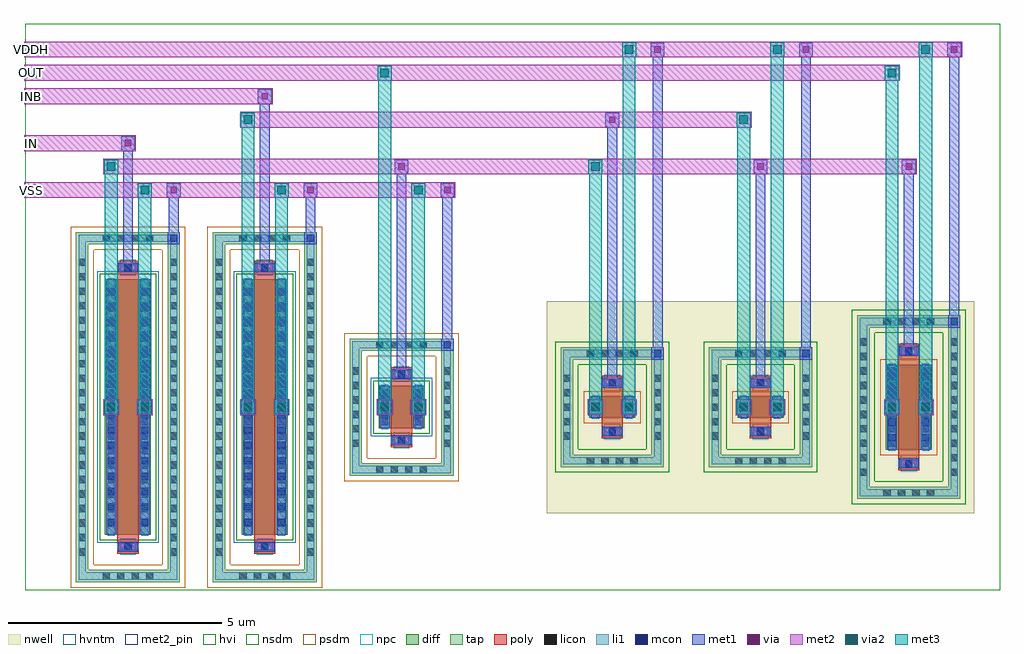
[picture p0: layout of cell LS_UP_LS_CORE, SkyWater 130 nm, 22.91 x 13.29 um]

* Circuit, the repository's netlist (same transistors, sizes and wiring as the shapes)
.subckt LS_UP_LS_CORE IN INB OUT VDDH VSS
XMN1 X IN VSS VSS sky130_fd_pr__nfet_g5v0d10v5 L=0.5 W=6 nf=1
XMN2 Y INB VSS VSS sky130_fd_pr__nfet_g5v0d10v5 L=0.5 W=6 nf=1
XMP1 X Y VDDH VDDH sky130_fd_pr__pfet_g5v0d10v5 L=0.5 W=0.5 nf=1
XMP2 Y X VDDH VDDH sky130_fd_pr__pfet_g5v0d10v5 L=0.5 W=0.5 nf=1
XMPO OUT X VDDH VDDH sky130_fd_pr__pfet_g5v0d10v5 L=0.5 W=2 nf=1
XMNO OUT X VSS VSS sky130_fd_pr__nfet_g5v0d10v5 L=0.5 W=1 nf=1
.ends

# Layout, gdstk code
import gdstk
lib = gdstk.Library(unit=1e-6, precision=1e-09)
def R(c, l, rs):  # rectangles x0, y0, x1, y1
    for r in rs: c.add(gdstk.rectangle(r[:2], r[2:], *l))
def A(c, l, x, y, w, h, nx, ny, dx, dy):  # array of equal rectangles
    R(c, l, [(x+i*dx, y+j*dy, x+i*dx+w, y+j*dy+h) for i in range(nx) for j in range(ny)])
nwell = (64, 20)
diff = (65, 20)
tap = (65, 44)
poly = (66, 20)
licon = (66, 44)
li1 = (67, 20)
mcon = (67, 44)
met1 = (68, 20)
via = (68, 44)
met2_pin = (69, 16)
met2 = (69, 20)
via2 = (69, 44)
met3 = (70, 20)
hvi = (75, 20)
nsdm = (93, 44)
psdm = (94, 20)
npc = (95, 20)
hvntm = (125, 20)

ls_up_ls_core = lib.new_cell('LS_UP_LS_CORE')
R(ls_up_ls_core, nwell, [(12.23,1.81,22.27,6.78), (19.19,1.81,22.27,6.78), (12.23,2.56,15.31,6.03), (15.71,2.56,18.79,6.03)])
R(ls_up_ls_core, diff, [(1.865,1.295,2.945,7.295), (5.075,1.295,6.155,7.295), (20.19,3.295,21.27,5.295), (8.285,3.795,9.365,4.795), (13.23,4.045,14.31,4.545), (16.71,4.045,17.79,4.545)])
R(ls_up_ls_core, tap, [(1.185,0.185,3.625,0.475), (4.395,0.185,6.835,0.475), (1.185,0.475,1.475,8.115), (3.335,0.475,3.625,8.115), (4.395,0.475,4.685,8.115), (6.545,0.475,6.835,8.115), (19.52,2.14,21.94,2.43), (19.52,2.43,19.81,6.16), (21.65,2.43,21.94,6.16), (7.605,2.685,10.045,2.975), (12.56,2.89,14.98,3.18), (16.04,2.89,18.46,3.18), (7.605,2.975,7.895,5.615), (9.755,2.975,10.045,5.615), (12.56,3.18,12.85,5.41), (14.69,3.18,14.98,5.41), (16.04,3.18,16.33,5.41), (18.17,3.18,18.46,5.41), (12.56,5.41,14.98,5.7), (16.04,5.41,18.46,5.7), (7.605,5.615,10.045,5.905), (19.52,6.16,21.94,6.45), (1.185,8.115,3.625,8.405), (4.395,8.115,6.835,8.405)])
R(ls_up_ls_core, poly, [(2.155,0.855,2.655,7.735), (5.365,0.855,5.865,7.735), (20.48,2.81,20.98,5.78), (8.575,3.355,9.075,5.235), (13.52,3.56,14.02,5.03), (17,3.56,17.5,5.03)])
A(ls_up_ls_core, licon, 1.81, 0.245, 0.17, 0.17, 4, 2, 0.34, 7.93)
A(ls_up_ls_core, licon, 5.02, 0.245, 0.17, 0.17, 4, 2, 0.34, 7.93)
A(ls_up_ls_core, licon, 1.245, 0.81, 0.17, 0.17, 1, 21, 0, 0.34)
A(ls_up_ls_core, licon, 3.395, 0.81, 0.17, 0.17, 1, 21, 0, 0.34)
A(ls_up_ls_core, licon, 4.455, 0.81, 0.17, 0.17, 1, 21, 0, 0.34)
A(ls_up_ls_core, licon, 6.605, 0.81, 0.17, 0.17, 1, 21, 0, 0.34)
A(ls_up_ls_core, licon, 1.925, 1.49, 0.17, 0.17, 1, 17, 0, 0.34)
A(ls_up_ls_core, licon, 2.715, 1.49, 0.17, 0.17, 1, 17, 0, 0.34)
A(ls_up_ls_core, licon, 5.135, 1.49, 0.17, 0.17, 1, 17, 0, 0.34)
A(ls_up_ls_core, licon, 5.925, 1.49, 0.17, 0.17, 1, 17, 0, 0.34)
A(ls_up_ls_core, licon, 20.135, 2.2, 0.17, 0.17, 4, 2, 0.34, 4.02)
A(ls_up_ls_core, licon, 19.58, 2.68, 0.17, 0.17, 1, 10, 0, 0.34)
A(ls_up_ls_core, licon, 21.71, 2.68, 0.17, 0.17, 1, 10, 0, 0.34)
A(ls_up_ls_core, licon, 8.23, 2.745, 0.17, 0.17, 4, 2, 0.34, 2.93)
A(ls_up_ls_core, licon, 13.175, 2.95, 0.17, 0.17, 4, 2, 0.34, 2.52)
A(ls_up_ls_core, licon, 16.655, 2.95, 0.17, 0.17, 4, 2, 0.34, 2.52)
A(ls_up_ls_core, licon, 7.665, 3.36, 0.17, 0.17, 1, 6, 0, 0.34)
A(ls_up_ls_core, licon, 9.815, 3.36, 0.17, 0.17, 1, 6, 0, 0.34)
A(ls_up_ls_core, licon, 20.25, 3.36, 0.17, 0.17, 1, 6, 0, 0.34)
A(ls_up_ls_core, licon, 21.04, 3.36, 0.17, 0.17, 1, 6, 0, 0.34)
A(ls_up_ls_core, licon, 12.62, 3.53, 0.17, 0.17, 1, 5, 0, 0.34)
A(ls_up_ls_core, licon, 14.75, 3.53, 0.17, 0.17, 1, 5, 0, 0.34)
A(ls_up_ls_core, licon, 16.1, 3.53, 0.17, 0.17, 1, 5, 0, 0.34)
A(ls_up_ls_core, licon, 18.23, 3.53, 0.17, 0.17, 1, 5, 0, 0.34)
A(ls_up_ls_core, licon, 8.345, 3.87, 0.17, 0.17, 1, 3, 0, 0.34)
A(ls_up_ls_core, licon, 9.135, 3.87, 0.17, 0.17, 1, 3, 0, 0.34)
R(ls_up_ls_core, licon, [(2.32,0.935,2.49,1.105), (5.53,0.935,5.7,1.105), (20.645,2.89,20.815,3.06), (8.74,3.435,8.91,3.605), (13.685,3.64,13.855,3.81), (17.165,3.64,17.335,3.81), (13.29,4.21,13.46,4.38), (14.08,4.21,14.25,4.38), (16.77,4.21,16.94,4.38), (17.56,4.21,17.73,4.38), (13.685,4.78,13.855,4.95), (17.165,4.78,17.335,4.95), (8.74,4.985,8.91,5.155), (20.645,5.53,20.815,5.7), (2.32,7.485,2.49,7.655), (5.53,7.485,5.7,7.655)])
R(ls_up_ls_core, li1, [(1.245,0.245,3.565,0.415), (4.455,0.245,6.775,0.415), (1.245,0.415,1.415,8.175), (3.395,0.415,3.565,8.175), (4.455,0.415,4.625,8.175), (6.605,0.415,6.775,8.175), (2.155,0.935,2.655,1.105), (5.365,0.935,5.865,1.105), (1.925,1.275,2.095,7.315), (2.715,1.275,2.885,7.315), (5.135,1.275,5.305,7.315), (5.925,1.275,6.095,7.315), (19.58,2.2,21.88,2.37), (19.58,2.37,19.75,6.22), (21.71,2.37,21.88,6.22), (7.665,2.745,9.985,2.915), (20.48,2.89,20.98,3.06), (7.665,2.915,7.835,5.675), (9.815,2.915,9.985,5.675), (12.62,2.95,14.92,3.12), (16.1,2.95,18.4,3.12), (12.62,3.12,12.79,5.47), (14.75,3.12,14.92,5.47), (16.1,3.12,16.27,5.47), (18.23,3.12,18.4,5.47), (20.25,3.275,20.42,5.315), (21.04,3.275,21.21,5.315), (8.575,3.435,9.075,3.605), (13.52,3.64,14.02,3.81), (17,3.64,17.5,3.81), (8.345,3.775,8.515,4.815), (9.135,3.775,9.305,4.815), (13.29,4.025,13.46,4.565), (14.08,4.025,14.25,4.565), (16.77,4.025,16.94,4.565), (17.56,4.025,17.73,4.565), (13.52,4.78,14.02,4.95), (17,4.78,17.5,4.95), (8.575,4.985,9.075,5.155), (12.62,5.47,14.92,5.64), (16.1,5.47,18.4,5.64), (20.48,5.53,20.98,5.7), (7.665,5.675,9.985,5.845), (19.58,6.22,21.88,6.39), (2.155,7.485,2.655,7.655), (5.365,7.485,5.865,7.655), (1.245,8.175,3.565,8.345), (4.455,8.175,6.775,8.345)])
A(ls_up_ls_core, mcon, 1.925, 1.51, 0.17, 0.17, 1, 16, 0, 0.36)
A(ls_up_ls_core, mcon, 2.715, 1.51, 0.17, 0.17, 1, 16, 0, 0.36)
A(ls_up_ls_core, mcon, 5.135, 1.51, 0.17, 0.17, 1, 16, 0, 0.36)
A(ls_up_ls_core, mcon, 5.925, 1.51, 0.17, 0.17, 1, 16, 0, 0.36)
A(ls_up_ls_core, mcon, 20.25, 3.49, 0.17, 0.17, 1, 5, 0, 0.36)
A(ls_up_ls_core, mcon, 21.04, 3.49, 0.17, 0.17, 1, 5, 0, 0.36)
R(ls_up_ls_core, mcon, [(2.32,0.935,2.49,1.105), (5.53,0.935,5.7,1.105), (20.645,2.89,20.815,3.06), (8.74,3.435,8.91,3.605), (13.685,3.64,13.855,3.81), (17.165,3.64,17.335,3.81), (8.345,4.03,8.515,4.2), (9.135,4.03,9.305,4.2), (13.29,4.21,13.46,4.38), (14.08,4.21,14.25,4.38), (16.77,4.21,16.94,4.38), (17.56,4.21,17.73,4.38), (8.345,4.39,8.515,4.56), (9.135,4.39,9.305,4.56), (13.685,4.78,13.855,4.95), (17.165,4.78,17.335,4.95), (8.74,4.985,8.91,5.155), (14.75,5.47,14.92,5.64), (18.23,5.47,18.4,5.64), (20.645,5.53,20.815,5.7), (9.815,5.675,9.985,5.845), (21.71,6.22,21.88,6.39), (2.32,7.485,2.49,7.655), (5.53,7.485,5.7,7.655), (3.395,8.175,3.565,8.345), (6.605,8.175,6.775,8.345)])
A(ls_up_ls_core, met1, 3.32, 9.23, 0.32, 0.32, 3, 1, 3.21, 0)
A(ls_up_ls_core, met1, 14.675, 12.53, 0.32, 0.32, 3, 1, 3.48, 0)
R(ls_up_ls_core, met1, [(2.175,0.905,2.635,1.135), (5.385,0.905,5.845,1.135), (1.895,1.295,2.125,7.295), (2.685,1.295,2.915,7.295), (5.105,1.295,5.335,7.295), (5.895,1.295,6.125,7.295), (20.5,2.86,20.96,3.09), (20.22,3.295,20.45,5.295), (21.01,3.295,21.24,5.295), (8.595,3.405,9.055,3.635), (13.54,3.61,14,3.84), (17.02,3.61,17.48,3.84), (8.315,3.795,8.545,4.795), (9.105,3.795,9.335,4.795), (13.26,4.045,13.49,4.545), (14.05,4.045,14.28,4.545), (16.74,4.045,16.97,4.545), (17.53,4.045,17.76,4.545), (1.85,4.135,2.17,4.455), (2.64,4.135,2.96,4.455), (5.06,4.135,5.38,4.455), (5.85,4.135,6.17,4.455), (8.27,4.135,8.59,4.455), (9.06,4.135,9.38,4.455), (13.215,4.135,13.535,4.455), (14.005,4.135,14.325,4.455), (16.695,4.135,17.015,4.455), (17.485,4.135,17.805,4.455), (20.175,4.135,20.495,4.455), (20.965,4.135,21.285,4.455), (13.54,4.75,14,4.98), (13.655,4.75,13.885,11.155), (17.02,4.75,17.48,4.98), (17.135,4.75,17.365,10.055), (8.595,4.955,9.055,5.185), (8.71,4.955,8.94,10.055), (14.69,5.41,14.98,5.7), (18.17,5.41,18.46,5.7), (14.72,5.44,14.95,12.805), (18.2,5.44,18.43,12.805), (20.5,5.5,20.96,5.73), (20.615,5.5,20.845,10.055), (9.755,5.615,10.045,5.905), (9.785,5.645,10.015,9.505), (21.65,6.16,21.94,6.45), (21.68,6.19,21.91,12.805), (2.175,7.455,2.635,7.685), (2.29,7.455,2.52,10.605), (5.385,7.455,5.845,7.685), (5.5,7.455,5.73,11.705), (3.335,8.115,3.625,8.405), (6.545,8.115,6.835,8.405), (3.365,8.145,3.595,9.505), (6.575,8.145,6.805,9.505), (8.665,9.78,8.985,10.1), (17.09,9.78,17.41,10.1), (20.57,9.78,20.89,10.1), (2.245,10.33,2.565,10.65), (13.61,10.88,13.93,11.2), (5.455,11.43,5.775,11.75)])
A(ls_up_ls_core, via, 3.405, 9.315, 0.15, 0.15, 3, 1, 3.21, 0)
A(ls_up_ls_core, via, 14.76, 12.615, 0.15, 0.15, 3, 1, 3.48, 0)
R(ls_up_ls_core, via, [(1.935,4.22,2.085,4.37), (2.725,4.22,2.875,4.37), (5.145,4.22,5.295,4.37), (5.935,4.22,6.085,4.37), (8.355,4.22,8.505,4.37), (9.145,4.22,9.295,4.37), (13.3,4.22,13.45,4.37), (14.09,4.22,14.24,4.37), (16.78,4.22,16.93,4.37), (17.57,4.22,17.72,4.37), (20.26,4.22,20.41,4.37), (21.05,4.22,21.2,4.37), (8.75,9.865,8.9,10.015), (17.175,9.865,17.325,10.015), (20.655,9.865,20.805,10.015), (2.33,10.415,2.48,10.565), (13.695,10.965,13.845,11.115), (5.54,11.515,5.69,11.665)])
A(ls_up_ls_core, met2_pin, 0.03, 9.27, 0.24, 0.24, 1, 3, 0, 1.1)
R(ls_up_ls_core, met2_pin, [(0.03,12.02,0.27,12.26), (0.03,12.57,0.27,12.81)])
A(ls_up_ls_core, met2, 2.615, 9.205, 0.37, 0.37, 3, 1, 3.21, 0)
A(ls_up_ls_core, met2, 3.32, 9.23, 0.32, 0.32, 3, 1, 3.21, 0)
A(ls_up_ls_core, met2, 13.98, 12.505, 0.37, 0.37, 3, 1, 3.48, 0)
A(ls_up_ls_core, met2, 14.675, 12.53, 0.32, 0.32, 3, 1, 3.48, 0)
R(ls_up_ls_core, met2, [(1.825,4.11,2.195,4.48), (2.615,4.11,2.985,4.48), (5.035,4.11,5.405,4.48), (5.825,4.11,6.195,4.48), (8.245,4.11,8.615,4.48), (9.035,4.11,9.405,4.48), (13.19,4.11,13.56,4.48), (13.98,4.11,14.35,4.48), (16.67,4.11,17.04,4.48), (17.46,4.11,17.83,4.48), (20.15,4.11,20.52,4.48), (20.94,4.11,21.31,4.48), (1.85,4.135,2.17,4.455), (2.64,4.135,2.96,4.455), (5.06,4.135,5.38,4.455), (5.85,4.135,6.17,4.455), (8.27,4.135,8.59,4.455), (9.06,4.135,9.38,4.455), (13.215,4.135,13.535,4.455), (14.005,4.135,14.325,4.455), (16.695,4.135,17.015,4.455), (17.485,4.135,17.805,4.455), (20.175,4.135,20.495,4.455), (20.965,4.135,21.285,4.455), (-0.035,9.205,10.085,9.575), (1.825,9.755,2.195,10.125), (1.825,9.755,20.915,10.125), (13.19,9.755,13.56,10.125), (8.665,9.78,8.985,10.1), (17.09,9.78,17.41,10.1), (20.57,9.78,20.89,10.1), (-0.035,10.305,2.59,10.675), (2.245,10.33,2.565,10.65), (5.035,10.855,5.405,11.225), (5.035,10.855,17.04,11.225), (16.67,10.855,17.04,11.225), (13.61,10.88,13.93,11.2), (-0.035,11.405,5.8,11.775), (5.455,11.43,5.775,11.75), (-0.035,11.955,20.52,12.325), (8.245,11.955,8.615,12.325), (20.15,11.955,20.52,12.325), (-0.035,12.505,21.98,12.875)])
A(ls_up_ls_core, via2, 2.7, 9.29, 0.2, 0.2, 3, 1, 3.21, 0)
A(ls_up_ls_core, via2, 14.065, 12.59, 0.2, 0.2, 3, 1, 3.48, 0)
R(ls_up_ls_core, via2, [(1.91,4.195,2.11,4.395), (2.7,4.195,2.9,4.395), (5.12,4.195,5.32,4.395), (5.91,4.195,6.11,4.395), (8.33,4.195,8.53,4.395), (9.12,4.195,9.32,4.395), (13.275,4.195,13.475,4.395), (14.065,4.195,14.265,4.395), (16.755,4.195,16.955,4.395), (17.545,4.195,17.745,4.395), (20.235,4.195,20.435,4.395), (21.025,4.195,21.225,4.395), (1.91,9.84,2.11,10.04), (13.275,9.84,13.475,10.04), (5.12,10.94,5.32,11.14), (16.755,10.94,16.955,11.14), (8.33,12.04,8.53,12.24), (20.235,12.04,20.435,12.24)])
A(ls_up_ls_core, met3, 2.65, 4.145, 0.3, 5.395, 3, 1, 3.21, 0)
A(ls_up_ls_core, met3, 14.015, 4.145, 0.3, 8.695, 3, 1, 3.48, 0)
A(ls_up_ls_core, met3, 2.635, 9.225, 0.33, 0.33, 3, 1, 3.21, 0)
A(ls_up_ls_core, met3, 14, 12.525, 0.33, 0.33, 3, 1, 3.48, 0)
R(ls_up_ls_core, met3, [(1.845,4.13,2.175,4.46), (2.635,4.13,2.965,4.46), (5.055,4.13,5.385,4.46), (5.845,4.13,6.175,4.46), (8.265,4.13,8.595,4.46), (9.055,4.13,9.385,4.46), (13.21,4.13,13.54,4.46), (14,4.13,14.33,4.46), (16.69,4.13,17.02,4.46), (17.48,4.13,17.81,4.46), (20.17,4.13,20.5,4.46), (20.96,4.13,21.29,4.46), (1.86,4.145,2.16,10.09), (5.07,4.145,5.37,11.19), (8.28,4.145,8.58,12.29), (13.225,4.145,13.525,10.09), (16.705,4.145,17.005,11.19), (20.185,4.145,20.485,12.29), (1.845,9.775,2.175,10.105), (13.21,9.775,13.54,10.105), (5.055,10.875,5.385,11.205), (16.69,10.875,17.02,11.205), (8.265,11.975,8.595,12.305), (20.17,11.975,20.5,12.305)])
R(ls_up_ls_core, hvi, [(0,0,22.87,13.29), (1,0,3.81,8.59), (4.21,0,7.02,8.59), (19.19,1.81,22.27,6.78), (7.42,2.5,10.23,6.09), (12.23,2.56,15.31,6.03), (15.71,2.56,18.79,6.03)])
R(ls_up_ls_core, nsdm, [(1.74,1.17,3.07,7.42), (4.95,1.17,6.28,7.42), (19.395,2.015,22.065,2.555), (19.395,2.555,19.935,6.035), (21.525,2.555,22.065,6.035), (12.435,2.765,15.105,3.305), (15.915,2.765,18.585,3.305), (12.435,3.305,12.975,5.285), (14.565,3.305,15.105,5.285), (15.915,3.305,16.455,5.285), (18.045,3.305,18.585,5.285), (8.16,3.67,9.49,4.92), (12.435,5.285,15.105,5.825), (15.915,5.285,18.585,5.825), (19.395,6.035,22.065,6.575)])
R(ls_up_ls_core, psdm, [(1.06,0.06,3.75,0.6), (4.27,0.06,6.96,0.6), (1.06,0.6,1.6,7.99), (3.21,0.6,3.75,7.99), (4.27,0.6,4.81,7.99), (6.42,0.6,6.96,7.99), (7.48,2.56,10.17,3.1), (7.48,3.1,8.02,5.49), (9.63,3.1,10.17,5.49), (20.065,3.17,21.395,5.42), (13.105,3.92,14.435,4.67), (16.585,3.92,17.915,4.67), (7.48,5.49,10.17,6.03), (1.06,7.99,3.75,8.53), (4.27,7.99,6.96,8.53)])
R(ls_up_ls_core, npc, [(2.22,0.835,2.59,1.205), (5.43,0.835,5.8,1.205), (20.545,2.79,20.915,3.16), (8.64,3.335,9.01,3.705), (13.585,3.54,13.955,3.91), (17.065,3.54,17.435,3.91), (13.585,4.68,13.955,5.05), (17.065,4.68,17.435,5.05), (8.64,4.885,9.01,5.255), (20.545,5.43,20.915,5.8), (2.22,7.385,2.59,7.755), (5.43,7.385,5.8,7.755)])
R(ls_up_ls_core, hvntm, [(1.68,1.11,3.13,7.48), (4.89,1.11,6.34,7.48), (8.1,3.61,9.55,4.98)])
ls_up_ls_core.add(gdstk.Label('VSS', (0.15,9.39), layer=69, texttype=5))
ls_up_ls_core.add(gdstk.Label('IN', (0.15,10.49), layer=69, texttype=5))
ls_up_ls_core.add(gdstk.Label('INB', (0.15,11.59), layer=69, texttype=5))
ls_up_ls_core.add(gdstk.Label('OUT', (0.15,12.14), layer=69, texttype=5))
ls_up_ls_core.add(gdstk.Label('VDDH', (0.15,12.69), layer=69, texttype=5))

lib.write_gds('LS_UP_LS_CORE.gds')
